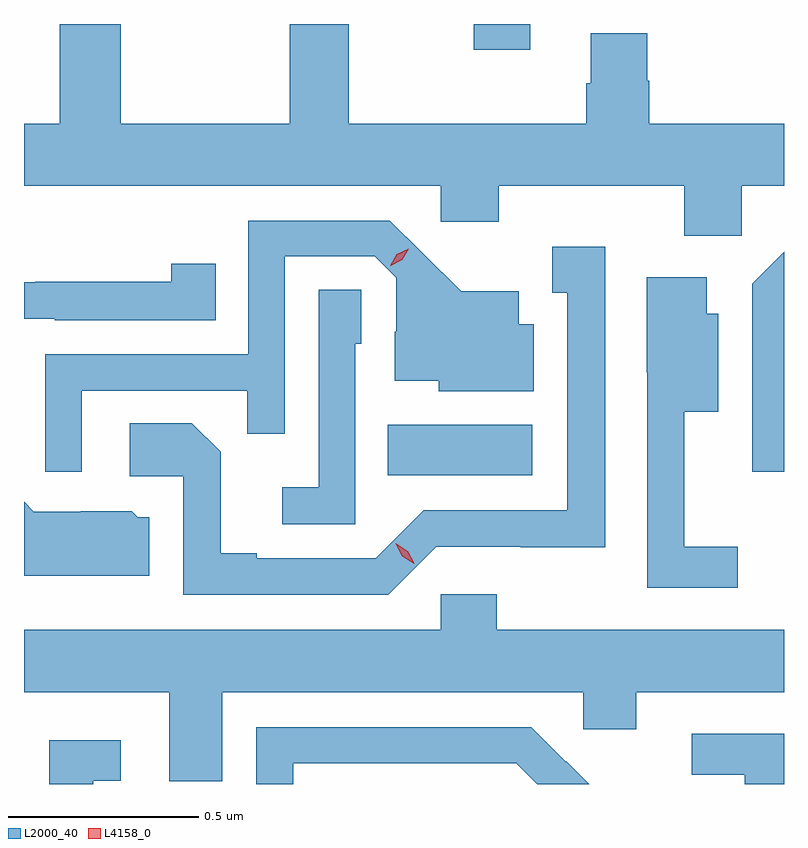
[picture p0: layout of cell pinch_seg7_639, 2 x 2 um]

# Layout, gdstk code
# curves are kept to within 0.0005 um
import gdstk
lib = gdstk.Library(unit=1e-6, precision=1e-09)
def R(c, l, rs):  # rectangles x0, y0, x1, y1
    for r in rs: c.add(gdstk.rectangle(r[:2], r[2:], *l))
def P(c, l, *ps):  # polygons
    for p in ps: c.add(gdstk.Polygon(p, *l))
L2000_40 = (2000, 40)
L4158_0 = (4158, 0)

pinch_seg7_639 = lib.new_cell('pinch_seg7_639')
R(pinch_seg7_639, L2000_40, [(147.802,1019.834,148.183,1019.968), (148.029,1020.954,148.177,1021.022)])
P(pinch_seg7_639, L2000_40, [(148.734,1020.596),(148.845,1020.596),(148.845,1020.76),(148.49,1020.76),(148.49,1020.873),(148.485,1020.873),(148.485,1020.998),(148.337,1020.998),(148.337,1020.866),(148.325,1020.866),(148.325,1020.76),(147.699,1020.76),(147.699,1021.022),(147.544,1021.022),(147.544,1020.76),(147.099,1020.76),(147.099,1021.022),(146.939,1021.022),(146.939,1020.76),(146.845,1020.76),(146.845,1020.596),(147.942,1020.596),(147.942,1020.501),(148.094,1020.501),(148.094,1020.596),(148.583,1020.596),(148.583,1020.465),(148.734,1020.465)],
  [(146.997,1020.057),(147.433,1020.057),(147.433,1019.944),(147.531,1019.944),(147.531,1020.411),(147.768,1020.411),(147.825,1020.354),(147.825,1020.212),(147.821,1020.212),(147.821,1020.083),(147.936,1020.083),(147.936,1020.056),(148.186,1020.056),(148.186,1020.232),(148.147,1020.232),(148.147,1020.319),(147.995,1020.319),(147.808,1020.504),(147.435,1020.504),(147.435,1020.153),(146.901,1020.153),(146.901,1019.844),(146.997,1019.844)],
  [(147.93,1019.646),(148.152,1019.646),(148.152,1019.645),(148.375,1019.645),(148.375,1020.436),(148.235,1020.436),(148.235,1020.315),(148.274,1020.315),(148.274,1019.742),(147.897,1019.742),(147.771,1019.616),(147.457,1019.616),(147.457,1019.629),(147.363,1019.629),(147.363,1019.896),(147.287,1019.972),(147.123,1019.972),(147.123,1019.832),(147.264,1019.832),(147.264,1019.52),(147.804,1019.52)],
  [(148.845,1020.423),(148.761,1020.339),(148.761,1019.844),(148.845,1019.844)],
  [(147.35,1020.391),(147.232,1020.391),(147.232,1020.344),(146.875,1020.344),(146.875,1020.343),(146.845,1020.343),(146.845,1020.246),(146.926,1020.246),(146.926,1020.243),(147.35,1020.243)],
  [(148.723,1019.647),(148.583,1019.647),(148.583,1020.002),(148.672,1020.002),(148.672,1020.259),(148.642,1020.259),(148.642,1020.355),(148.484,1020.355),(148.484,1020.106),(148.485,1020.106),(148.485,1019.538),(148.723,1019.538)],
  [(147.717,1020.18),(147.732,1020.18),(147.732,1020.323),(147.621,1020.323),(147.621,1019.803),(147.525,1019.803),(147.525,1019.706),(147.717,1019.706)],
  [(147.175,1019.724),(147.144,1019.724),(147.128,1019.74),(146.994,1019.74),(146.994,1019.739),(146.871,1019.739),(146.845,1019.765),(146.845,1019.57),(147.175,1019.57)],
  [(147.367,1019.264),(148.317,1019.264),(148.317,1019.166),(148.456,1019.166),(148.456,1019.264),(148.845,1019.264),(148.845,1019.428),(148.089,1019.428),(148.089,1019.521),(147.942,1019.521),(147.942,1019.428),(146.845,1019.428),(146.845,1019.264),(147.227,1019.264),(147.227,1019.029),(147.367,1019.029)],
  [(147.553,1019.076),(148.141,1019.076),(148.195,1019.022),(148.332,1019.022),(148.272,1019.082),(148.271,1019.081),(148.18,1019.172),(147.456,1019.172),(147.456,1019.022),(147.553,1019.022)],
  [(148.845,1019.154),(148.602,1019.154),(148.602,1019.046),(148.742,1019.046),(148.742,1019.022),(148.845,1019.022)],
  [(147.027,1019.031),(147.1,1019.031),(147.1,1019.137),(146.911,1019.137),(146.911,1019.022),(147.027,1019.022)])
P(pinch_seg7_639, L4158_0, [(147.872,1019.602),(147.84,1019.622),(147.823,1019.654),(147.823,1019.655),(147.823,1019.655),(147.855,1019.635),(147.872,1019.603),(147.872,1019.602)],
  [(147.809,1020.386),(147.809,1020.386),(147.826,1020.416),(147.857,1020.431),(147.858,1020.431),(147.858,1020.431),(147.84,1020.401),(147.81,1020.386)])

lib.write_gds('pinch_seg7_639.gds')
